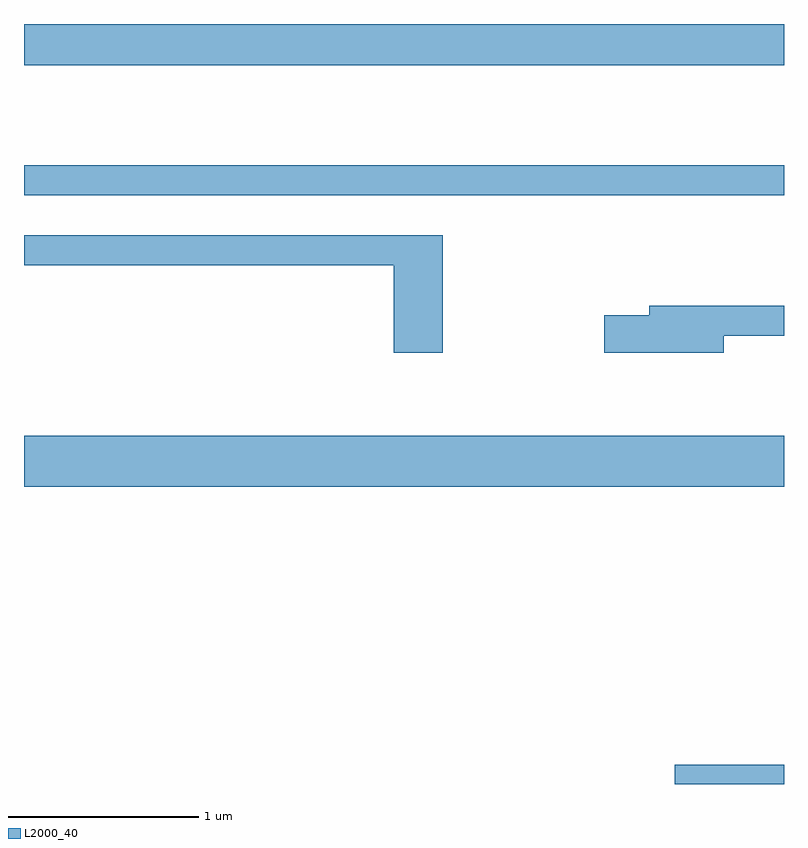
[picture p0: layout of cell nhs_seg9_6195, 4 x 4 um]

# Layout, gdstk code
import gdstk
lib = gdstk.Library(unit=1e-6, precision=1e-09)
def R(c, l, rs):  # rectangles x0, y0, x1, y1
    for r in rs: c.add(gdstk.rectangle(r[:2], r[2:], *l))
def P(c, l, *ps):  # polygons
    for p in ps: c.add(gdstk.Polygon(p, *l))
L2000_40 = (2000, 40)

nhs_seg9_6195 = lib.new_cell('nhs_seg9_6195')
R(nhs_seg9_6195, L2000_40, [(371.036,2032.432,371.611,2032.534), (367.611,2033.996,371.611,2034.264), (367.611,2035.531,371.611,2035.689), (367.611,2036.216,371.611,2036.432)])
P(nhs_seg9_6195, L2000_40, [(369.814,2035.319),(367.611,2035.319),(367.611,2035.161),(369.556,2035.161),(369.556,2034.701),(369.814,2034.701)],
  [(371.294,2034.791),(371.611,2034.791),(371.611,2034.949),(370.901,2034.949),(370.901,2034.899),(370.666,2034.899),(370.666,2034.701),(371.294,2034.701)])

lib.write_gds('nhs_seg9_6195.gds')
